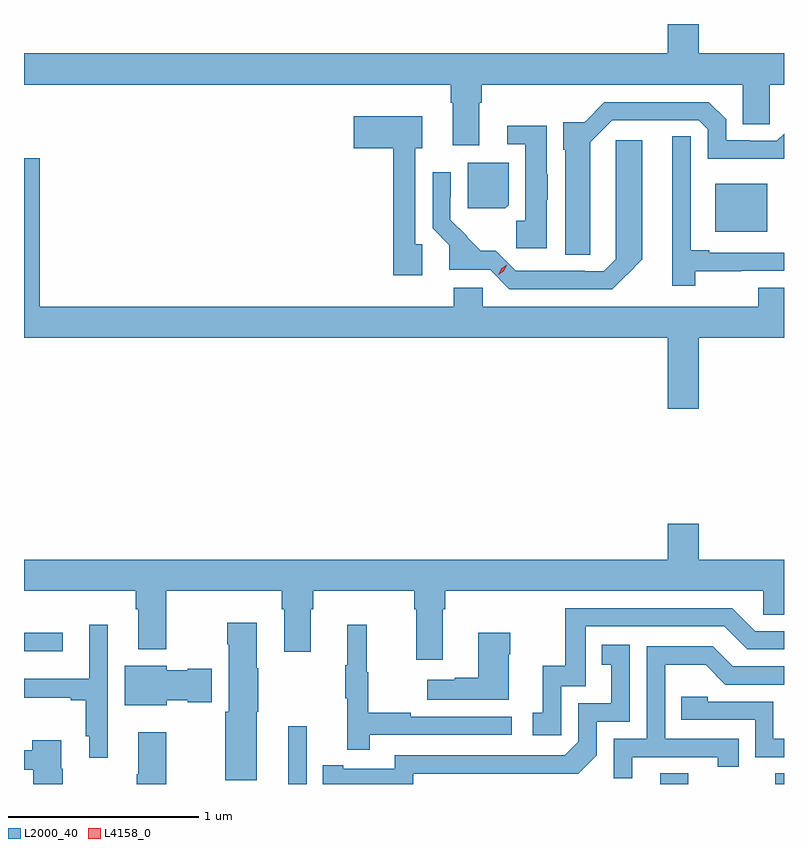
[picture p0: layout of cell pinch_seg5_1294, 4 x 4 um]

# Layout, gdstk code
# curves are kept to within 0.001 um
import gdstk
lib = gdstk.Library(unit=1e-6, precision=1e-09)
def R(c, l, rs):  # rectangles x0, y0, x1, y1
    for r in rs: c.add(gdstk.rectangle(r[:2], r[2:], *l))
def P(c, l, *ps):  # polygons
    for p in ps: c.add(gdstk.Polygon(p, *l))
L2000_40 = (2000, 40)
L4158_0 = (4158, 0)

pinch_seg5_1294 = lib.new_cell('pinch_seg5_1294')
R(pinch_seg5_1294, L2000_40, [(318.854,893.039,318.951,893.344), (320.813,893.039,320.961,893.096), (321.418,893.039,321.464,893.096), (317.464,893.738,317.668,893.835), (321.101,895.946,321.376,896.197)])
P(pinch_seg5_1294, L2000_40, [(319.861,896.624),(319.874,896.624),(319.874,896.72),(321.248,896.72),(321.248,896.512),(321.388,896.512),(321.388,896.72),(321.464,896.72),(321.464,896.884),(321.016,896.884),(321.016,897.039),(320.852,897.039),(320.852,896.884),(317.464,896.884),(317.464,896.72),(319.709,896.72),(319.709,896.624),(319.721,896.624),(319.721,896.4),(319.861,896.4)],
  [(320.443,896.416),(320.559,896.532),(321.015,896.532),(321.063,896.484),(321.063,896.33),(321.464,896.331),(321.464,896.462),(321.426,896.424),(321.284,896.424),(321.284,896.427),(321.159,896.427),(321.159,896.538),(321.069,896.628),(320.519,896.628),(320.414,896.523),(320.303,896.523),(320.303,896.376),(320.312,896.376),(320.312,895.825),(320.443,895.825)],
  [(319.56,895.881),(319.524,895.881),(319.524,896.384),(319.561,896.384),(319.561,896.554),(319.2,896.554),(319.2,896.384),(319.408,896.384),(319.408,896.031),(319.407,896.031),(319.407,895.716),(319.56,895.716)],
  [(320.215,896.115),(320.221,896.115),(320.221,896.247),(320.215,896.247),(320.215,896.504),(320.007,896.504),(320.007,896.406),(320.102,896.406),(320.102,896.004),(320.054,896.004),(320.054,895.859),(320.215,895.859)],
  [(320.997,895.739),(321.239,895.739),(321.239,895.74),(321.464,895.74),(321.464,895.836),(321.07,895.836),(321.07,895.849),(320.973,895.849),(320.973,896.447),(320.876,896.447),(320.876,895.662),(320.997,895.662)],
  [(320.638,895.721),(320.639,895.72),(320.716,895.797),(320.719,895.797),(320.719,896.428),(320.579,896.428),(320.579,895.802),(320.514,895.737),(320.414,895.737),(320.414,895.74),(320.052,895.74),(319.946,895.846),(319.867,895.846),(319.794,895.919),(319.796,895.921),(319.707,896.01),(319.707,896.126),(319.71,896.126),(319.71,896.26),(319.614,896.26),(319.614,895.964),(319.703,895.875),(319.703,895.746),(319.917,895.746),(320.019,895.644),(320.56,895.644)],
  [(321.016,895.388),(321.464,895.388),(321.464,895.651),(321.328,895.651),(321.328,895.552),(319.878,895.552),(319.878,895.65),(319.727,895.65),(319.727,895.552),(317.546,895.552),(317.546,896.332),(317.464,896.332),(317.464,895.388),(320.852,895.388),(320.852,895.014),(321.016,895.014)],
  [(320.014,896.085),(320.014,896.308),(319.799,896.308),(319.799,896.069),(319.998,896.069)],
  [(319.669,893.96),(319.682,893.96),(319.682,894.056),(321.354,894.056),(321.354,893.929),(321.464,893.929),(321.464,894.22),(321.016,894.22),(321.016,894.409),(320.852,894.409),(320.852,894.22),(317.464,894.22),(317.464,894.056),(318.053,894.056),(318.053,893.96),(318.065,893.96),(318.065,893.747),(318.213,893.747),(318.213,894.056),(318.821,894.056),(318.821,893.96),(318.833,893.96),(318.833,893.736),(318.973,893.736),(318.973,893.96),(318.986,893.96),(318.986,894.056),(319.517,894.056),(319.517,893.96),(319.529,893.96),(319.529,893.694),(319.669,893.694)],
  [(320.292,893.553),(320.421,893.553),(320.421,893.868),(321.15,893.868),(321.27,893.748),(321.464,893.748),(321.464,893.844),(321.312,893.844),(321.192,893.964),(320.313,893.964),(320.313,893.662),(320.195,893.662),(320.195,893.415),(320.142,893.415),(320.142,893.295),(320.292,893.295)],
  [(318.688,893.418),(318.696,893.418),(318.696,893.648),(318.688,893.648),(318.688,893.887),(318.535,893.887),(318.535,893.774),(318.542,893.774),(318.542,893.418),(318.524,893.418),(318.524,893.06),(318.688,893.06)],
  [(319.283,893.298),(320.032,893.298),(320.032,893.394),(319.499,893.394),(319.499,893.414),(319.276,893.414),(319.276,893.628),(319.268,893.628),(319.268,893.878),(319.166,893.878),(319.166,893.665),(319.155,893.665),(319.155,893.491),(319.166,893.491),(319.166,893.22),(319.283,893.22)],
  [(317.905,893.399),(317.904,893.399),(317.904,893.878),(317.807,893.878),(317.807,893.593),(317.464,893.593),(317.464,893.494),(317.711,893.494),(317.711,893.48),(317.788,893.48),(317.788,893.29),(317.807,893.29),(317.807,893.178),(317.905,893.178)],
  [(320.014,893.723),(320.022,893.723),(320.022,893.836),(319.856,893.836),(319.856,893.597),(319.73,893.597),(319.73,893.587),(319.587,893.587),(319.587,893.483),(320.014,893.483)],
  [(319.512,893.094),(320.38,893.093),(320.478,893.19),(320.478,893.367),(320.652,893.367),(320.652,893.773),(320.506,893.773),(320.506,893.667),(320.555,893.667),(320.555,893.463),(320.382,893.463),(320.382,893.262),(320.31,893.19),(319.416,893.19),(319.416,893.118),(319.144,893.118),(319.144,893.138),(319.036,893.138),(319.036,893.039),(319.512,893.039)],
  [(320.665,893.181),(321.116,893.181),(321.116,893.13),(321.227,893.13),(321.227,893.277),(320.838,893.277),(320.838,893.666),(321.052,893.666),(321.156,893.562),(321.464,893.562),(321.464,893.658),(321.193,893.658),(321.088,893.763),(320.742,893.763),(320.742,893.277),(320.568,893.277),(320.568,893.07),(320.665,893.07)],
  [(318.216,893.48),(318.327,893.48),(318.327,893.468),(318.451,893.468),(318.451,893.646),(318.327,893.646),(318.327,893.638),(318.216,893.638),(318.216,893.662),(317.993,893.662),(317.993,893.453),(318.216,893.453)],
  [(321.464,893.277),(321.408,893.277),(321.408,893.472),(321.063,893.472),(321.063,893.499),(320.923,893.499),(320.923,893.376),(321.312,893.376),(321.312,893.181),(321.464,893.181)],
  [(318.213,893.311),(318.065,893.311),(318.065,893.09),(318.058,893.09),(318.058,893.039),(318.213,893.039)],
  [(317.667,893.118),(317.659,893.118),(317.659,893.269),(317.507,893.269),(317.507,893.216),(317.464,893.216),(317.464,893.113),(317.512,893.113),(317.512,893.039),(317.667,893.039)])
P(pinch_seg5_1294, L4158_0, [(319.96,895.719),(319.96,895.719),(319.975,895.752),(320.004,895.771),(320.005,895.771),(320.005,895.771),(319.99,895.738),(319.96,895.719)])

lib.write_gds('pinch_seg5_1294.gds')
